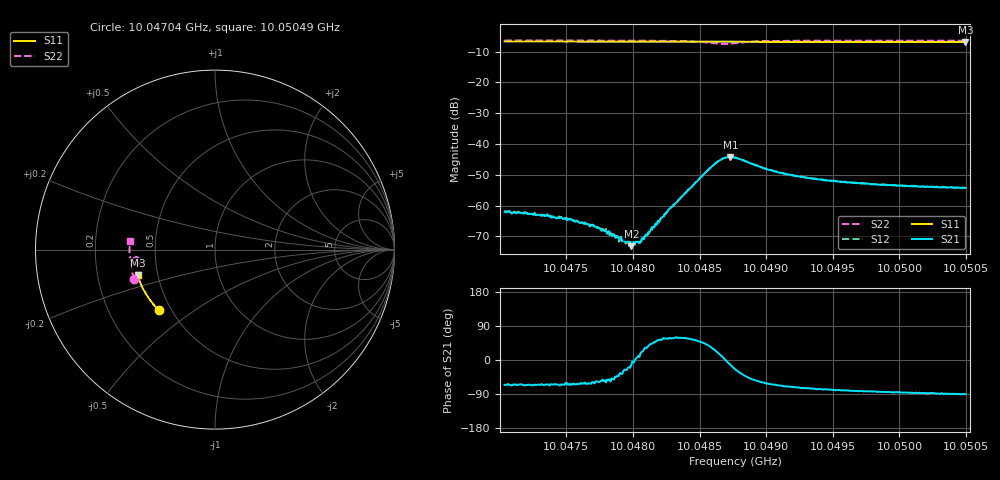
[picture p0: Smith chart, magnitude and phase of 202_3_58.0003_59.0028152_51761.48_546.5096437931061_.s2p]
#  HZ  S  RI  R  50.00
! Rohde & Schwarz Vector Network Analyzer
! Rohde-Schwarz,ZNB20-2Port,1311601062101988,3.16
! Created: UTC 3/21/2024, 12:59:18 AM
! freq[Hz]  re:S11  im:S11  re:S21  im:S21  re:S12  im:S12  re:S22  im:S22
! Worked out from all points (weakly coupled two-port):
!   401 points, 10.04704 GHz to 10.05049 GHz, reference 50 ohm
!   highest |S21| = -44.23 dB at 10.04873 GHz (marker M1); lowest = -73.2 dB at 10.04799 GHz (marker M2)
!   lowest |S11| = -6.9 dB at 10.05049 GHz (marker M3), VSWR 2.67, Z = 19.2 - j6.93 ohm
!   |S11| at or under -10 dB: nowhere
!   |S22| runs from -7.5 to -6.4 dB; largest |S21 - S12| = 0.00041
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1.0047038e10  -0.3146 -0.3364  0.000326 -0.000725  0.000375 -0.000745  -0.4498 -0.1658
1.0047357e10  -0.3292 -0.3211  0.000318 -0.000651  0.000348 -0.000621  -0.4563 -0.1447
1.0047617e10  -0.3406 -0.3081  0.000243 -0.000474  0.000284 -0.000457  -0.4608 -0.1267
1.0047703e10  -0.3442 -0.3038  0.000251 -0.000416  0.000265 -0.000399  -0.4622 -0.1206
1.004779e10  -0.3479 -0.2995  0.000239 -0.000319  0.000249 -0.000293  -0.4633 -0.1141
1.0047824e10  -0.3492 -0.2975  0.000236 -0.000291  0.000218 -0.000253  -0.4638 -0.1117
1.0047867e10  -0.351 -0.2953  0.000218 -0.000209  0.000232 -0.000215  -0.4642 -0.1083
1.0047885e10  -0.3517 -0.2944  0.000241 -0.000213  0.000222 -0.000199  -0.4644 -0.107
1.0047988e10  -0.3558 -0.2889  0.000215 -4.78e-05  0.000232 -3e-05  -0.4655 -0.0987
1.0048014e10  -0.357 -0.2875  0.00025 -2.93e-06  0.00023 -1.66e-05  -0.4657 -0.0967
1.0048066e10  -0.3591 -0.2848  0.000257 9.86e-05  0.00026 0.000133  -0.4659 -0.0925
1.0048127e10  -0.3615 -0.2817  0.000283 0.000247  0.000268 0.000259  -0.4661 -0.0872
1.0048196e10  -0.3641 -0.2779  0.000339 0.00044  0.000313 0.000432  -0.4661 -0.0809
1.0048248e10  -0.366 -0.2752  0.00041 0.00062  0.000372 0.000673  -0.4657 -0.0758
1.0048585e10  -0.3783 -0.2566  0.00344 0.00236  0.00333 0.00255  -0.4365 -0.0422
1.0048662e10  -0.3807 -0.2522  0.00549 0.0011  0.00545 0.00143  -0.4189 -0.0519
1.0048732e10  -0.3831 -0.2486  0.00598 -0.00141  0.0061 -0.00102  -0.4186 -0.0723
1.0048766e10  -0.3843 -0.2468  0.00547 -0.00245  0.00565 -0.00209  -0.4251 -0.0795
1.0049077e10  -0.395 -0.2291  0.00143 -0.00325  0.00165 -0.00319  -0.4672 -0.061
1.0049345e10  -0.4031 -0.2134  0.000689 -0.00267  0.000839 -0.00265  -0.4738 -0.0368
1.0049924e10  -0.4187 -0.1787  0.000208 -0.00214  0.000294 -0.00215  -0.4766 0.00673
1.0050495e10  -0.4311 -0.1433  -6.79e-06 -0.00195  0.000105 -0.00192  -0.4742 0.0462
